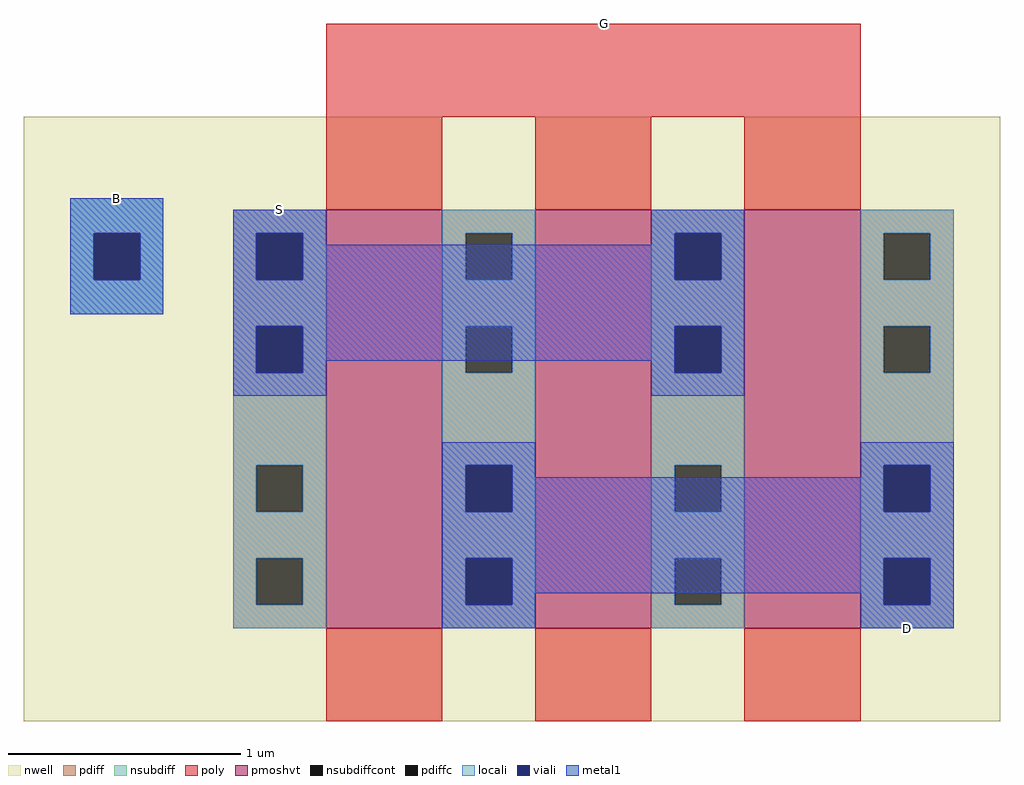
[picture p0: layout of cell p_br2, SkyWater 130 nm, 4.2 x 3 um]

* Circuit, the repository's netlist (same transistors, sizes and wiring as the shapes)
* NGSPICE file created from p_br2.ext - technology: sky130A

.subckt p_br2
X0 D G S B sky130_fd_pr__pfet_01v8_hvt ad=0.36 pd=2.2 as=0.72 ps=4.4 w=1.8 l=0.5 M=3
.ends

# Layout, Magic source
magic
tech sky130A
<< nwell >>
rect -130 -40 290 220
<< pmoshvt >>
rect 0 0 50 180
rect 90 0 140 180
rect 180 0 230 180
<< pdiff >>
rect -40 170 0 180
rect -40 150 -30 170
rect -10 150 0 170
rect -40 130 0 150
rect -40 110 -30 130
rect -10 110 0 130
rect -40 70 0 110
rect -40 50 -30 70
rect -10 50 0 70
rect -40 30 0 50
rect -40 10 -30 30
rect -10 10 0 30
rect -40 0 0 10
rect 50 170 90 180
rect 50 150 60 170
rect 80 150 90 170
rect 50 130 90 150
rect 50 110 60 130
rect 80 110 90 130
rect 50 70 90 110
rect 50 50 60 70
rect 80 50 90 70
rect 50 30 90 50
rect 50 10 60 30
rect 80 10 90 30
rect 50 0 90 10
rect 140 170 180 180
rect 140 150 150 170
rect 170 150 180 170
rect 140 130 180 150
rect 140 110 150 130
rect 170 110 180 130
rect 140 70 180 110
rect 140 50 150 70
rect 170 50 180 70
rect 140 30 180 50
rect 140 10 150 30
rect 170 10 180 30
rect 140 0 180 10
rect 230 170 270 180
rect 230 150 240 170
rect 260 150 270 170
rect 230 130 270 150
rect 230 110 240 130
rect 260 110 270 130
rect 230 70 270 110
rect 230 50 240 70
rect 260 50 270 70
rect 230 30 270 50
rect 230 10 240 30
rect 260 10 270 30
rect 230 0 270 10
<< pdiffc >>
rect -30 150 -10 170
rect -30 110 -10 130
rect -30 50 -10 70
rect -30 10 -10 30
rect 60 150 80 170
rect 60 110 80 130
rect 60 50 80 70
rect 60 10 80 30
rect 150 150 170 170
rect 150 110 170 130
rect 150 50 170 70
rect 150 10 170 30
rect 240 150 260 170
rect 240 110 260 130
rect 240 50 260 70
rect 240 10 260 30
<< nsubdiff >>
rect -110 170 -70 185
rect -110 150 -100 170
rect -80 150 -70 170
rect -110 135 -70 150
<< nsubdiffcont >>
rect -100 150 -80 170
<< poly >>
rect 0 220 230 260
rect 0 180 50 220
rect 90 180 140 220
rect 180 180 230 220
rect 0 -40 50 0
rect 90 -40 140 0
rect 180 -40 230 0
<< locali >>
rect -110 170 -70 185
rect -110 150 -100 170
rect -80 150 -70 170
rect -110 135 -70 150
rect -40 170 0 180
rect -40 150 -30 170
rect -10 150 0 170
rect -40 130 0 150
rect -40 110 -30 130
rect -10 110 0 130
rect -40 70 0 110
rect -40 50 -30 70
rect -10 50 0 70
rect -40 30 0 50
rect -40 10 -30 30
rect -10 10 0 30
rect -40 0 0 10
rect 50 170 90 180
rect 50 150 60 170
rect 80 150 90 170
rect 50 130 90 150
rect 50 110 60 130
rect 80 110 90 130
rect 50 70 90 110
rect 50 50 60 70
rect 80 50 90 70
rect 50 30 90 50
rect 50 10 60 30
rect 80 10 90 30
rect 50 0 90 10
rect 140 170 180 180
rect 140 150 150 170
rect 170 150 180 170
rect 140 130 180 150
rect 140 110 150 130
rect 170 110 180 130
rect 140 70 180 110
rect 140 50 150 70
rect 170 50 180 70
rect 140 30 180 50
rect 140 10 150 30
rect 170 10 180 30
rect 140 0 180 10
rect 230 170 270 180
rect 230 150 240 170
rect 260 150 270 170
rect 230 130 270 150
rect 230 110 240 130
rect 260 110 270 130
rect 230 70 270 110
rect 230 50 240 70
rect 260 50 270 70
rect 230 30 270 50
rect 230 10 240 30
rect 260 10 270 30
rect 230 0 270 10
<< viali >>
rect -100 150 -80 170
rect -30 150 -10 170
rect -30 110 -10 130
rect 60 50 80 70
rect 60 10 80 30
rect 150 150 170 170
rect 150 110 170 130
rect 240 50 260 70
rect 240 10 260 30
<< metal1 >>
rect -110 170 -70 185
rect -110 150 -100 170
rect -80 150 -70 170
rect -110 135 -70 150
rect -40 170 0 180
rect -40 150 -30 170
rect -10 165 0 170
rect 140 170 180 180
rect 140 165 150 170
rect -10 150 150 165
rect 170 150 180 170
rect -40 130 180 150
rect -40 110 -30 130
rect -10 115 150 130
rect -10 110 0 115
rect -40 100 0 110
rect 140 110 150 115
rect 170 110 180 130
rect 140 100 180 110
rect 50 70 90 80
rect 50 50 60 70
rect 80 65 90 70
rect 230 70 270 80
rect 230 65 240 70
rect 80 50 240 65
rect 260 50 270 70
rect 50 30 270 50
rect 50 10 60 30
rect 80 15 240 30
rect 80 10 90 15
rect 50 0 90 10
rect 230 10 240 15
rect 260 10 270 30
rect 230 0 270 10
<< labels >>
rlabel metal1 -90 185 -90 185 1 B
port 4 n
rlabel metal1 -20 180 -20 180 1 S
port 2 n
rlabel metal1 250 0 250 0 5 D
port 3 s
rlabel poly 120 260 120 260 1 G
port 1 n
<< end >>
